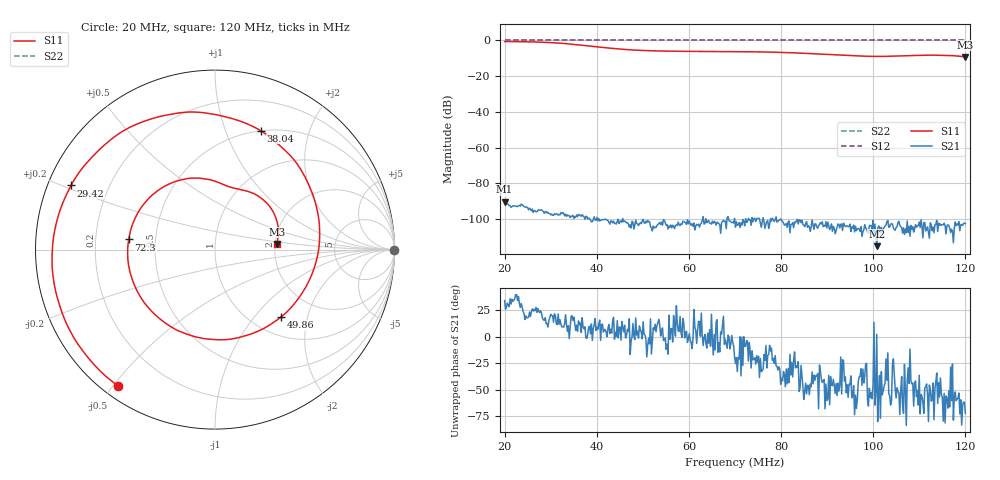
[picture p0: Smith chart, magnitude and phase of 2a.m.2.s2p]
! Anritsu VNA Master:  Model: MS2036C/10/77
! SN:  1601066
! /bd0/18may26.balun/2a.m2.s2p
! Existing Calibration Information:
! TYPE:  Current Settings,  Active Cal Settings
! TIME:  05/26/2018 07:50:10 PM,  05/26/2018 07:26:54 PM
! INTERNAL TEMP:  45.3 C,  45.5 C
! # POINTS:  500,  500
! START FREQ:  20.000 MHz,  20.000 MHz
! STOP FREQ:  120.000 MHz,  120.000 MHz
! SOURCE POWER:  High,  High
! IFBW:  50 Hz,  50 Hz
! AVG FACTOR:  1 ,  1
! REF PLANE 1:  0 mm,  0 mm
! REF PLANE 2:  0 mm,  0 mm
! CAL TYPE:  Full S11,  Full S11
! CAL METHOD:  SOLT,  SOLT
! CAL LINE TYPE:  Coax,  Coax
! DUT PORT 1:  K-Conn(M),  K-Conn(M)
! DUT PORT 2:  K-Conn(M),  K-Conn(M)
! CAL STATUS:  OK: Accuracy High,  --
# GHZ S DB R 50.0
! FREQ.GHZ  S11DB  S11A  S21DB  S21A  S12DB  S12A  S22DB  S22A
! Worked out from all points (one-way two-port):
!   500 points, 20 MHz to 120 MHz, reference 50 ohm
!   highest |S21| = -90.35 dB at 20 MHz (marker M1); lowest = -115.2 dB at 100.8 MHz (marker M2)
!   lowest |S11| = -9.2 dB at 120 MHz (marker M3), VSWR 2.05, Z = 102 + j7.43 ohm
!   |S11| at or under -10 dB: nowhere
!   |S22| runs from 0.0 to 0.0 dB; largest |S21 - S12| = 1
!   S11 on the Smith chart (normalised r, x): 20 MHz: 0.05, -0.51; 29.42 MHz: 0.07, +0.21; 38.04 MHz: 0.50, +1.33; 49.86 MHz: 1.34, -1.39; 72.3 MHz: 0.35, +0.05; 120 MHz: 2.04, +0.15
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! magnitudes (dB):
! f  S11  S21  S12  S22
! 20 MHz  -0.6  -90.4  0.0  0.0
! 25.81 MHz  -0.8  -95.4  0.0  0.0
! 29.42 MHz  -1.1  -96.3  0.0  0.0
! 32.63 MHz  -1.6  -96.4  0.0  0.0
! 36.83 MHz  -2.7  -97.6  0.0  0.0
! 38.04 MHz  -3.0  -99.9  0.0  0.0
! 44.05 MHz  -4.6  -102.4  0.0  0.0
! 47.25 MHz  -5.2  -103.2  0.0  0.0
! 49.86 MHz  -5.6  -101.2  0.0  0.0
! 53.47 MHz  -5.9  -102.6  0.0  0.0
! 58.28 MHz  -6.1  -102.7  0.0  0.0
! 70.1 MHz  -6.2  -104.6  0.0  0.0
! 72.3 MHz  -6.3  -99.9  0.0  0.0
! 79.32 MHz  -6.6  -101.3  0.0  0.0
! 86.73 MHz  -7.4  -100.5  0.0  0.0
! 96.75 MHz  -8.7  -105.4  0.0  0.0
! 100.8 MHz  -8.9  -115.2  0.0  0.0
! 103.4 MHz  -8.9  -104.6  0.0  0.0
! 109.8 MHz  -8.4  -103.7  0.0  0.0
! 113.8 MHz  -8.2  -100.8  0.0  0.0
! 117.2 MHz  -8.5  -106.8  0.0  0.0
! 120 MHz  -9.2  -102.6  0.0  0.0
